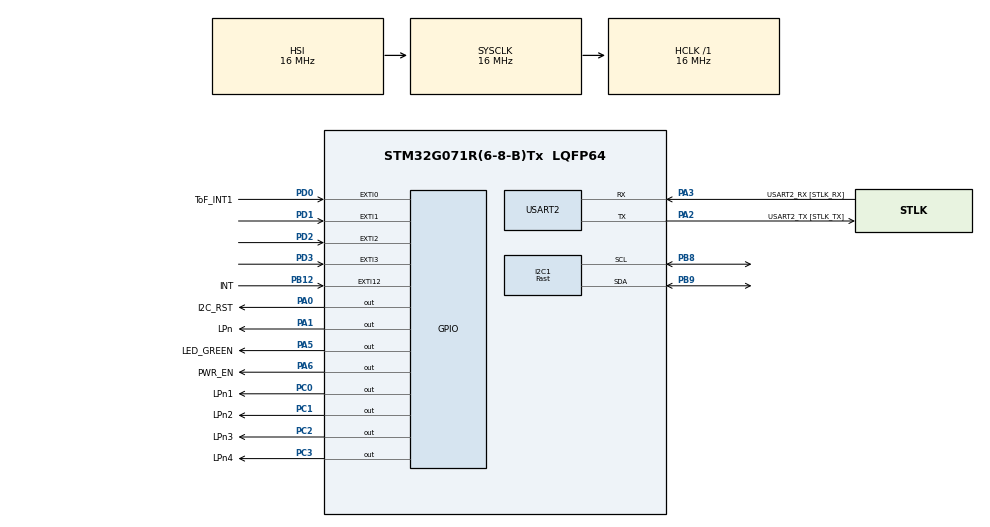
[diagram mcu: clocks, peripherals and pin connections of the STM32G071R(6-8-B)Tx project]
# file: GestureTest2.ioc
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I2C1.I2C_Speed_Mode=I2C_Fast
I2C1.Timing=0x0010061A
Mcu.Family=STM32G0
Mcu.Name=STM32G071R(6-8-B)Tx
Mcu.Package=LQFP64
PA0.GPIO_Label=I2C_RST
PA0.GPIO_PuPd=GPIO_PULLDOWN
PA0.GPIO_Speed=GPIO_SPEED_FREQ_LOW
PA0.Signal=GPIO_Output
PA1.GPIO_Label=LPn
PA1.GPIO_PuPd=GPIO_PULLUP
PA1.GPIO_Speed=GPIO_SPEED_FREQ_LOW
PA1.PinState=GPIO_PIN_SET
PA1.Signal=GPIO_Output
PA13.GPIO_Label=TMS
PA13.Mode=Serial_Wire
PA13.Signal=SYS_SWDIO
PA14-BOOT0.GPIO_Label=TCK
PA14-BOOT0.Mode=Serial_Wire
PA14-BOOT0.Signal=SYS_SWCLK
PA2.GPIO_Label=USART2_TX [STLK_TX]
PA2.GPIO_PuPd=GPIO_PULLUP
PA2.Mode=Asynchronous
PA2.Signal=USART2_TX
PA3.GPIO_Label=USART2_RX [STLK_RX]
PA3.GPIO_PuPd=GPIO_PULLUP
PA3.Mode=Asynchronous
PA3.Signal=USART2_RX
PA5.GPIO_Label=LED_GREEN
PA5.GPIO_Speed=GPIO_SPEED_FREQ_LOW
PA5.Signal=GPIO_Output
PA6.GPIO_Label=PWR_EN
PA6.GPIO_PuPd=GPIO_PULLUP
PA6.PinState=GPIO_PIN_SET
PA6.Signal=GPIO_Output
PB12.GPIO_Label=INT
PB12.Signal=GPXTI12
PB8.GPIO_Pu=GPIO_PULLUP
PB8.GPIO_Speed=GPIO_SPEED_FREQ_VERY_HIGH
PB8.Mode=I2C
PB8.Signal=I2C1_SCL
PB9.GPIO_Pu=GPIO_PULLUP
PB9.GPIO_Speed=GPIO_SPEED_FREQ_VERY_HIGH
PB9.Mode=I2C
PB9.Signal=I2C1_SDA
PC0.GPIO_Label=LPn1
PC0.Signal=GPIO_Output
PC1.GPIO_Label=LPn2
PC1.Signal=GPIO_Output
PC13.Mode=SYS_WakeUp1
PC13.Signal=SYS_WKUP2
PC14-OSC32_IN\ (PC14).Mode=LSE-External-Oscillator
PC14-OSC32_IN\ (PC14).Signal=RCC_OSC32_IN
PC15-OSC32_OUT\ (PC15).Mode=LSE-External-Oscillator
PC15-OSC32_OUT\ (PC15).Signal=RCC_OSC32_OUT
PC2.GPIO_Label=LPn3
PC2.Signal=GPIO_Output
PC3.GPIO_Label=LPn4
PC3.Signal=GPIO_Output
PD0.GPIO_Label=ToF_INT1
PD0.Signal=GPXTI0
PD1.Signal=GPXTI1
PD2.Signal=GPXTI2
PD3.Signal=GPXTI3
PF0-OSC_IN\ (PF0).GPIO_Label=MCO
PF0-OSC_IN\ (PF0).Mode=HSE-External-Clock-Source
PF0-OSC_IN\ (PF0).Signal=RCC_OSC_IN
ProjectManager.HeapSize=0x200
ProjectManager.StackSize=0x400
ProjectManager.TargetToolchain=STM32CubeIDE
RCC.AHBFreq_Value=16000000
RCC.CortexFreq_Value=16000000
RCC.EXTERNAL_CLOCK_VALUE=12288000
RCC.HCLKFreq_Value=16000000
RCC.HSE_VALUE=8000000
RCC.HSI_VALUE=16000000
RCC.SYSCLKFreq_VALUE=16000000
RCC.VCOOutputFreq_Value=128000000
USART2.VirtualMode-Asynchronous=VM_ASYNC
board=NUCLEO-G071RB

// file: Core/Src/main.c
/* USER CODE BEGIN Header */
/**
  ******************************************************************************
  * @file           : main.c
  * @brief          : Main program body
  ******************************************************************************
  * @attention
  *
  * Copyright (c) 2023 STMicroelectronics.
  * All rights reserved.
  *
  * This software is licensed under terms that can be found in the LICENSE file
  * in the root directory of this software component.
  * If no LICENSE file comes with this software, it is provided AS-IS.
  *
  ******************************************************************************
  */
/* USER CODE END Header */
#include "main.h"

/* USER CODE BEGIN Includes */
#include "vl53l5cx_api.h"
#include "vl53l5cx_plugin_motion_indicator.h"
#include "tof_lib.h"
/* USER CODE END Includes */

I2C_HandleTypeDef hi2c1;

UART_HandleTypeDef huart2;

/* USER CODE BEGIN PV */
VL53L5CX_Configuration Sensor1Cfg;
VL53L5CX_ResultsData Sensor1Results;

VL53L5CX_Motion_Configuration Sensor1MotionCfg;

#ifdef DO_GESTURE_TEST
GW_proc_t gest_predictor;
HT_proc_t hand_tracker;
SEN_data_t sensor_data;
#endif

uint8_t is_alive;
uint8_t is_ready;
/* USER CODE END PV */

void SystemClock_Config(void);
static void MX_GPIO_Init(void);
static void MX_USART2_UART_Init(void);
static void MX_I2C1_Init(void);

int main(void)
{
  /* USER CODE BEGIN 1 */

	is_alive = 0;
	is_ready = 0;
	Sensor1Cfg.platform.address = 0x52;

  /* USER CODE END 1 */

  /* MCU Configuration--------------------------------------------------------*/

  /* Reset of all peripherals, Initializes the Flash interface and the Systick. */
  HAL_Init();

  /* USER CODE BEGIN Init */
//  HAL_GPIO_WritePin(AVDD_GPIO_Port, AVDD_Pin, GPIO_PIN_SET);
//  HAL_GPIO_WritePin(IOVDD_GPIO_Port, IOVDD_Pin, GPIO_PIN_SET);
  HAL_GPIO_WritePin(LPn_GPIO_Port, LPn_Pin, GPIO_PIN_SET);
  HAL_GPIO_WritePin(I2C_RST_GPIO_Port, I2C_RST_Pin, GPIO_PIN_RESET);
  /* USER CODE END Init */

  /* Configure the system clock */
  SystemClock_Config();

  /* Initialize all configured peripherals */
  MX_GPIO_Init();
  MX_USART2_UART_Init();
  MX_I2C1_Init();
  /* USER CODE BEGIN 2 */
  uint8_t init_status = init_tof(&Sensor1Cfg);

  /* USER CODE END 2 */

  /* Infinite loop */
  /* USER CODE BEGIN WHILE */

  uint8_t samples = 0;
  init_status |= vl53l5cx_start_ranging(&Sensor1Cfg);

  while (1)
  {

#ifdef DO_GESTURE_TEST

// detect gesture

	  if (samples >= 500){
		  init_status |= vl53l5cx_stop_ranging(&Sensor1Cfg);
		  while (1){
			  HAL_GPIO_WritePin(LED_GREEN_GPIO_Port, LED_GREEN_Pin, GPIO_PIN_SET);
		  }
	  }

#endif

#ifdef DO_DISTANCE_TEST
	  samples++;

	  init_status |= sample_once(&Sensor1Cfg, &Sensor1Results);
	  uint8_t i;
	  uint16_t lowest = 0xFFFFU;
	  for (i = 0; i < 16; i++){
		  uint16_t cur_read = Sensor1Results.distance_mm[i];
		  if (cur_read < lowest){
			  lowest = cur_read;
		  }
	  }

	  HAL_GPIO_TogglePin(LED_GREEN_GPIO_Port,LED_GREEN_Pin);
	  HAL_Delay(lowest);

	  if (samples >= 100){
	  		  init_status |= vl53l5cx_stop_ranging(&Sensor1Cfg);
	  		  while (1){
	  			  HAL_GPIO_WritePin(LED_GREEN_GPIO_Port, LED_GREEN_Pin, GPIO_PIN_SET);
//	  			  HAL_GPIO_TogglePin(LED_GREEN_GPIO_Port,LED_GREEN_Pin);
//	  			  HAL_Delay(1000);
	  		  }
	  }

#endif

#ifdef DO_MOTION_TEST

	  samples++;

	  init_status |= sample_once(&Sensor1Cfg, &Sensor1Results);

	  if (detect_motion(&Sensor1Results)){HAL_GPIO_WritePin(GPIOA,LED_GREEN_Pin,GPIO_PIN_SET);}
	  else {HAL_GPIO_WritePin(LED_GREEN_GPIO_Port,LED_GREEN_Pin,GPIO_PIN_RESET);}

	  if (samples >= 100){
		  init_status |= vl53l5cx_stop_ranging(&Sensor1Cfg);
		  while (1){
			  HAL_GPIO_TogglePin(LED_GREEN_GPIO_Port,LED_GREEN_Pin);
			  HAL_Delay(1000);
		  }
	  }

	  // if samples reaches certain point, blink led
#endif

#ifdef DO_IS_ALIVE_TEST
	  HAL_GPIO_TogglePin(LED_GREEN_GPIO_Port,LED_GREEN_Pin);
	  HAL_Delay(100);
	  init_status = vl53l5cx_is_alive(&Sensor1Cfg, &is_alive);
	  if (is_alive == 1 && init_status == 0){
		  HAL_GPIO_WritePin(LED_GREEN_GPIO_Port,LED_GREEN_Pin,GPIO_PIN_SET);
		  while(1){}
	  }
#endif

    /* USER CODE END WHILE */

  }
}

void SystemClock_Config(void)
{
  RCC_OscInitTypeDef RCC_OscInitStruct = {0};
  RCC_ClkInitTypeDef RCC_ClkInitStruct = {0};

  /** Configure the main internal regulator output voltage
  */
  HAL_PWREx_ControlVoltageScaling(PWR_REGULATOR_VOLTAGE_SCALE1);

  /** Initializes the RCC Oscillators according to the specified parameters
  * in the RCC_OscInitTypeDef structure.
  */
  RCC_OscInitStruct.OscillatorType = RCC_OSCILLATORTYPE_HSI;
  RCC_OscInitStruct.HSIState = RCC_HSI_ON;
  RCC_OscInitStruct.HSIDiv = RCC_HSI_DIV1;
  RCC_OscInitStruct.HSICalibrationValue = RCC_HSICALIBRATION_DEFAULT;
  RCC_OscInitStruct.PLL.PLLState = RCC_PLL_NONE;
  if (HAL_RCC_OscConfig(&RCC_OscInitStruct) != HAL_OK)
  {
    Error_Handler();
  }

  /** Initializes the CPU, AHB and APB buses clocks
  */
  RCC_ClkInitStruct.ClockType = RCC_CLOCKTYPE_HCLK|RCC_CLOCKTYPE_SYSCLK
                              |RCC_CLOCKTYPE_PCLK1;
  RCC_ClkInitStruct.SYSCLKSource = RCC_SYSCLKSOURCE_HSI;
  RCC_ClkInitStruct.AHBCLKDivider = RCC_SYSCLK_DIV1;
  RCC_ClkInitStruct.APB1CLKDivider = RCC_HCLK_DIV1;

  if (HAL_RCC_ClockConfig(&RCC_ClkInitStruct, FLASH_LATENCY_0) != HAL_OK)
  {
    Error_Handler();
  }
}

static void MX_I2C1_Init(void)
{

  hi2c1.Instance = I2C1;
  hi2c1.Init.Timing = 0x0010061A;
  hi2c1.Init.OwnAddress1 = 0;
  hi2c1.Init.AddressingMode = I2C_ADDRESSINGMODE_7BIT;
  hi2c1.Init.DualAddressMode = I2C_DUALADDRESS_DISABLE;
  hi2c1.Init.OwnAddress2 = 0;
  hi2c1.Init.OwnAddress2Masks = I2C_OA2_NOMASK;
  hi2c1.Init.GeneralCallMode = I2C_GENERALCALL_DISABLE;
  hi2c1.Init.NoStretchMode = I2C_NOSTRETCH_DISABLE;
  if (HAL_I2C_Init(&hi2c1) != HAL_OK)
  {
    Error_Handler();
  }

  /** Configure Analogue filter
  */
  if (HAL_I2CEx_ConfigAnalogFilter(&hi2c1, I2C_ANALOGFILTER_ENABLE) != HAL_OK)
  {
    Error_Handler();
  }

  /** Configure Digital filter
  */
  if (HAL_I2CEx_ConfigDigitalFilter(&hi2c1, 0) != HAL_OK)
  {
    Error_Handler();
  }

}

static void MX_USART2_UART_Init(void)
{

  huart2.Instance = USART2;
  huart2.Init.BaudRate = 115200;
  huart2.Init.WordLength = UART_WORDLENGTH_8B;
  huart2.Init.StopBits = UART_STOPBITS_1;
  huart2.Init.Parity = UART_PARITY_NONE;
  huart2.Init.Mode = UART_MODE_TX_RX;
  huart2.Init.HwFlowCtl = UART_HWCONTROL_NONE;
  huart2.Init.OverSampling = UART_OVERSAMPLING_16;
  huart2.Init.OneBitSampling = UART_ONE_BIT_SAMPLE_DISABLE;
  huart2.Init.ClockPrescaler = UART_PRESCALER_DIV1;
  huart2.AdvancedInit.AdvFeatureInit = UART_ADVFEATURE_NO_INIT;
  if (HAL_UART_Init(&huart2) != HAL_OK)
  {
    Error_Handler();
  }
  if (HAL_UARTEx_SetTxFifoThreshold(&huart2, UART_TXFIFO_THRESHOLD_1_8) != HAL_OK)
  {
    Error_Handler();
  }
  if (HAL_UARTEx_SetRxFifoThreshold(&huart2, UART_RXFIFO_THRESHOLD_1_8) != HAL_OK)
  {
    Error_Handler();
  }
  if (HAL_UARTEx_DisableFifoMode(&huart2) != HAL_OK)
  {
    Error_Handler();
  }

}

static void MX_GPIO_Init(void)
{
  GPIO_InitTypeDef GPIO_InitStruct = {0};

  /* GPIO Ports Clock Enable */
  __HAL_RCC_GPIOC_CLK_ENABLE();
  __HAL_RCC_GPIOF_CLK_ENABLE();
  __HAL_RCC_GPIOA_CLK_ENABLE();
  __HAL_RCC_GPIOB_CLK_ENABLE();
  __HAL_RCC_GPIOD_CLK_ENABLE();

  /*Configure GPIO pin Output Level */
  HAL_GPIO_WritePin(GPIOC, LPn1_Pin|LPn2_Pin|LPn3_Pin|LPn4_Pin, GPIO_PIN_RESET);

  /*Configure GPIO pin Output Level */
  HAL_GPIO_WritePin(GPIOA, I2C_RST_Pin|LED_GREEN_Pin, GPIO_PIN_RESET);

  /*Configure GPIO pin Output Level */
  HAL_GPIO_WritePin(GPIOA, LPn_Pin|PWR_EN_Pin, GPIO_PIN_SET);

  /*Configure GPIO pins : PC11 PC12 PC4 PC5
                           PC6 PC7 PC8 PC9
                           PC10 */
  GPIO_InitStruct.Pin = GPIO_PIN_11|GPIO_PIN_12|GPIO_PIN_4|GPIO_PIN_5
                          |GPIO_PIN_6|GPIO_PIN_7|GPIO_PIN_8|GPIO_PIN_9
                          |GPIO_PIN_10;
  GPIO_InitStruct.Mode = GPIO_MODE_ANALOG;
  GPIO_InitStruct.Pull = GPIO_NOPULL;
  HAL_GPIO_Init(GPIOC, &GPIO_InitStruct);

  /*Configure GPIO pins : PF1 PF2 */
  GPIO_InitStruct.Pin = GPIO_PIN_1|GPIO_PIN_2;
  GPIO_InitStruct.Mode = GPIO_MODE_ANALOG;
  GPIO_InitStruct.Pull = GPIO_NOPULL;
  HAL_GPIO_Init(GPIOF, &GPIO_InitStruct);

  /*Configure GPIO pins : LPn1_Pin LPn2_Pin LPn3_Pin LPn4_Pin */
  GPIO_InitStruct.Pin = LPn1_Pin|LPn2_Pin|LPn3_Pin|LPn4_Pin;
  GPIO_InitStruct.Mode = GPIO_MODE_OUTPUT_PP;
  GPIO_InitStruct.Pull = GPIO_NOPULL;
  GPIO_InitStruct.Speed = GPIO_SPEED_FREQ_LOW;
  HAL_GPIO_Init(GPIOC, &GPIO_InitStruct);

  /*Configure GPIO pin : I2C_RST_Pin */
  GPIO_InitStruct.Pin = I2C_RST_Pin;
  GPIO_InitStruct.Mode = GPIO_MODE_OUTPUT_PP;
  GPIO_InitStruct.Pull = GPIO_PULLDOWN;
  GPIO_InitStruct.Speed = GPIO_SPEED_FREQ_LOW;
  HAL_GPIO_Init(I2C_RST_GPIO_Port, &GPIO_InitStruct);

  /*Configure GPIO pins : LPn_Pin PWR_EN_Pin */
  GPIO_InitStruct.Pin = LPn_Pin|PWR_EN_Pin;
  GPIO_InitStruct.Mode = GPIO_MODE_OUTPUT_PP;
  GPIO_InitStruct.Pull = GPIO_PULLUP;
  GPIO_InitStruct.Speed = GPIO_SPEED_FREQ_LOW;
  HAL_GPIO_Init(GPIOA, &GPIO_InitStruct);

  /*Configure GPIO pins : PA4 PA7 PA8 PA9
                           PA10 PA11 PA12 PA15 */
  GPIO_InitStruct.Pin = GPIO_PIN_4|GPIO_PIN_7|GPIO_PIN_8|GPIO_PIN_9
                          |GPIO_PIN_10|GPIO_PIN_11|GPIO_PIN_12|GPIO_PIN_15;
  GPIO_InitStruct.Mode = GPIO_MODE_ANALOG;
  GPIO_InitStruct.Pull = GPIO_NOPULL;
  HAL_GPIO_Init(GPIOA, &GPIO_InitStruct);

  /*Configure GPIO pin : LED_GREEN_Pin */
  GPIO_InitStruct.Pin = LED_GREEN_Pin;
  GPIO_InitStruct.Mode = GPIO_MODE_OUTPUT_PP;
  GPIO_InitStruct.Pull = GPIO_NOPULL;
  GPIO_InitStruct.Speed = GPIO_SPEED_FREQ_LOW;
  HAL_GPIO_Init(LED_GREEN_GPIO_Port, &GPIO_InitStruct);

  /*Configure GPIO pins : PB0 PB1 PB2 PB10
                           PB11 PB13 PB14 PB15
                           PB3 PB4 PB5 PB6
                           PB7 */
  GPIO_InitStruct.Pin = GPIO_PIN_0|GPIO_PIN_1|GPIO_PIN_2|GPIO_PIN_10
                          |GPIO_PIN_11|GPIO_PIN_13|GPIO_PIN_14|GPIO_PIN_15
                          |GPIO_PIN_3|GPIO_PIN_4|GPIO_PIN_5|GPIO_PIN_6
                          |GPIO_PIN_7;
  GPIO_InitStruct.Mode = GPIO_MODE_ANALOG;
  GPIO_InitStruct.Pull = GPIO_NOPULL;
  HAL_GPIO_Init(GPIOB, &GPIO_InitStruct);

  /*Configure GPIO pin : INT_Pin */
  GPIO_InitStruct.Pin = INT_Pin;
  GPIO_InitStruct.Mode = GPIO_MODE_IT_RISING;
  GPIO_InitStruct.Pull = GPIO_NOPULL;
  HAL_GPIO_Init(INT_GPIO_Port, &GPIO_InitStruct);

  /*Configure GPIO pins : PD8 PD9 PD4 PD5
                           PD6 */
  GPIO_InitStruct.Pin = GPIO_PIN_8|GPIO_PIN_9|GPIO_PIN_4|GPIO_PIN_5
                          |GPIO_PIN_6;
  GPIO_InitStruct.Mode = GPIO_MODE_ANALOG;
  GPIO_InitStruct.Pull = GPIO_NOPULL;
  HAL_GPIO_Init(GPIOD, &GPIO_InitStruct);

  /*Configure GPIO pins : ToF_INT1_Pin PD1 PD2 PD3 */
  GPIO_InitStruct.Pin = ToF_INT1_Pin|GPIO_PIN_1|GPIO_PIN_2|GPIO_PIN_3;
  GPIO_InitStruct.Mode = GPIO_MODE_IT_RISING;
  GPIO_InitStruct.Pull = GPIO_NOPULL;
  HAL_GPIO_Init(GPIOD, &GPIO_InitStruct);

}

void Error_Handler(void)
{
  __disable_irq();
  while (1)
  {
  }
}
